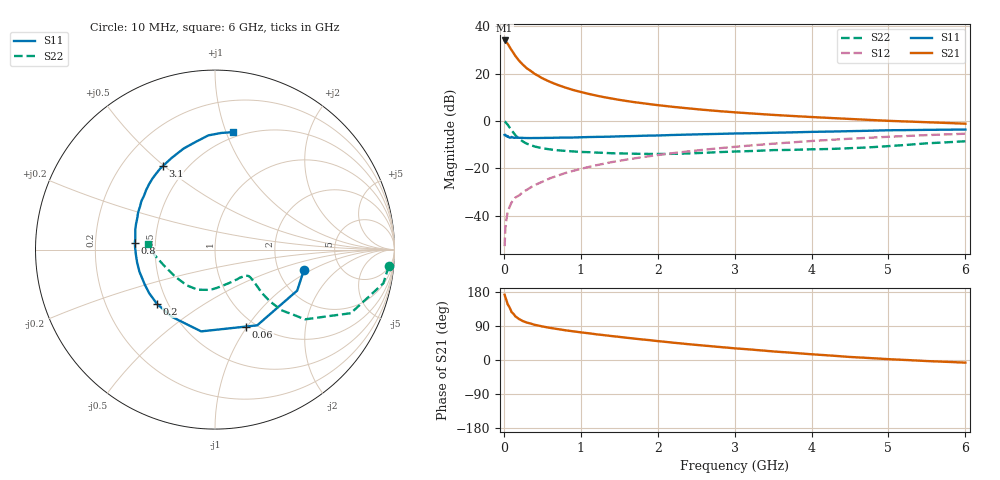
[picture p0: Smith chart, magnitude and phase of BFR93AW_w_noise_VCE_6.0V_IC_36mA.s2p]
! Infineon Technologies  Discrete & RF Semiconductors
! BFR93AW
! VCE =  6.0 V,  IC =  36 mA
! Common Emitter S-Parameters:  Jan 2017
# GHz  S  MA  R  50
!  f  S11  S21  S12  S22
! GHz  MAG  ANG  MAG  ANG  MAG  ANG  MAG  ANG
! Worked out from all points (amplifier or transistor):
!   77 points, 10 MHz to 6 GHz, reference 50 ohm
!   highest |S21| = 33.9 dB at 10 MHz (marker M1)
!   |S21| within 3 dB of that: start of sweep to 79.45 MHz
!   unconditionally stable (mu >= 1): 554.7 MHz to 2.045 GHz
!   at 130 MHz: K = 0.55, MSG = 30.7 dB, |S12| = -33.0 dB
!   at 2.2 GHz: K = 0.99, MSG = 9.8 dB, |S12| = -13.5 dB
!   at 6 GHz: K = 0.87, MSG = 2.1 dB, |S12| = -5.4 dB
!   lowest NFmin = 1.95 dB at 450 MHz
!   S11 on the Smith chart (normalised r, x): 10 MHz: 2.76, -0.86; 60 MHz: 0.91, -0.99; 200 MHz: 0.44, -0.33; 800 MHz: 0.38, +0.04; 3.1 GHz: 0.37, +0.49; 6 GHz: 0.45, +1.05
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0.01  0.5081 -13.2  49.81 172.3  0.0023 88.3  0.9732 -5.4
0.02  0.5117 -26.5  49.28 165.4  0.0056 80.0  0.9565 -11.3
0.05  0.483 -60.9  42.45 146.9  0.012 70.5  0.8355 -25.1
0.06  0.4622 -68.1  39.88 143.8  0.0134 68.2  0.7929 -27.1
0.1  0.4621 -99.6  31.18 126.7  0.0191 62.3  0.6352 -37.7
0.15  0.4451 -122.6  23.46 115.1  0.0244 59.9  0.5003 -42.4
0.2  0.4426 -137.0  18.5 107.8  0.0271 61.1  0.4191 -43.3
0.25  0.4398 -146.6  15.22 102.4  0.0319 62.1  0.3676 -42.9
0.3  0.437 -153.6  12.86 98.7  0.0355 63.7  0.3318 -41.9
0.4  0.4386 -163.6  9.864 92.8  0.0443 66.4  0.2901 -40.0
0.5  0.4399 -170.7  7.956 88.5  0.0523 68.4  0.2664 -38.9
0.6  0.4415 -176.2  6.688 84.8  0.062 69.5  0.252 -38.2
0.7  0.4447 179.2  5.756 81.6  0.0705 70.3  0.2415 -38.1
0.8  0.4484 175.3  5.064 78.4  0.0801 71.0  0.2344 -38.6
0.9  0.4485 171.7  4.508 75.7  0.0889 70.7  0.2285 -39.6
1.1  0.4587 165.3  3.735 70.6  0.1071 70.5  0.2204 -42.2
1.5  0.4743 154.9  2.79 61.0  0.1443 68.7  0.2075 -51.0
2.1  0.5009 141.2  2.071 47.9  0.2008 64.4  0.2023 -69.9
3.1  0.5481 122.2  1.486 29.3  0.2944 55.5  0.2295 -102.4
4.1  0.5931 105.7  1.189 13.8  0.3873 45.4  0.2546 -131.6
5.1  0.6396 92.0  0.994 1.3  0.4722 34.4  0.3029 -164.7
6  0.6616 81.5  0.878 -7.0  0.5393 24.3  0.3741 174.9
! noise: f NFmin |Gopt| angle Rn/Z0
0.45  1.95  0.21  178  0.16
0.9  2.22  0.28  -172  0.17
1.9  3.28  0.52  -134  0.32
2.4  3.96  0.56  -123  0.61
